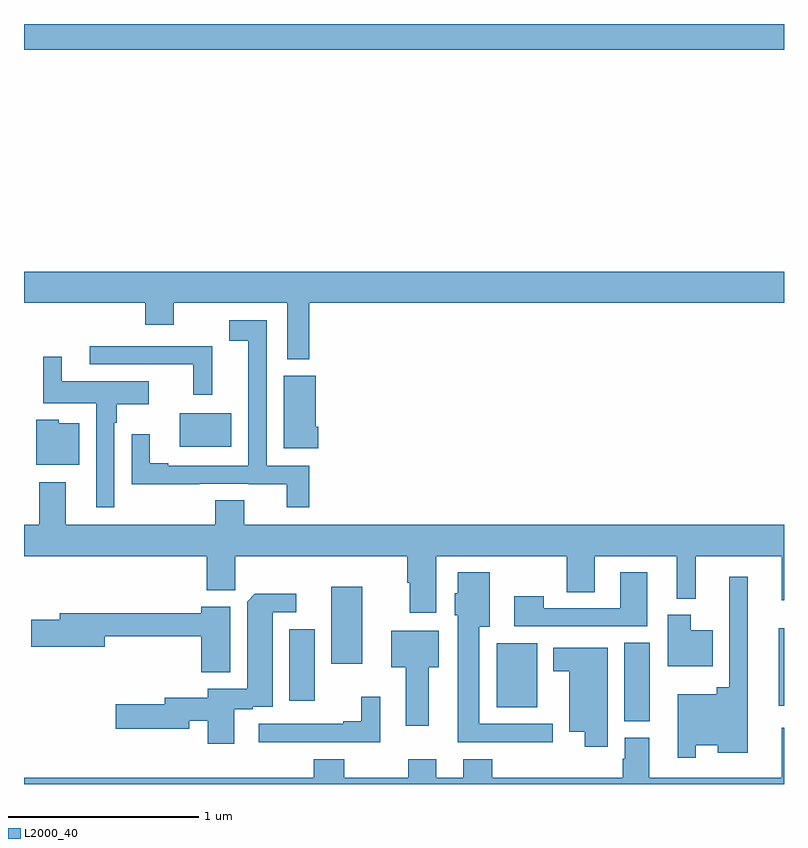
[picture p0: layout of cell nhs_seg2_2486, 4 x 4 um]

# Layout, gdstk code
import gdstk
lib = gdstk.Library(unit=1e-6, precision=1e-09)
def R(c, l, rs):  # rectangles x0, y0, x1, y1
    for r in rs: c.add(gdstk.rectangle(r[:2], r[2:], *l))
def P(c, l, *ps):  # polygons
    for p in ps: c.add(gdstk.Polygon(p, *l))
L2000_40 = (2000, 40)

nhs_seg2_2486 = lib.new_cell('nhs_seg2_2486')
R(nhs_seg2_2486, L2000_40, [(244.16,616.129,244.294,616.544), (243.488,616.205,243.7,616.54), (244.973,616.211,245,616.621), (242.396,616.239,242.53,616.615), (242.618,616.434,242.779,616.837), (241.82,617.576,242.092,617.752), (241,619.664,245,619.8)])
P(nhs_seg2_2486, L2000_40, [(242.501,618.332),(245,618.332),(245,618.496),(241,618.496),(241,618.332),(241.637,618.332),(241.637,618.218),(241.789,618.218),(241.789,618.332),(242.385,618.332),(242.385,618.035),(242.501,618.035)],
  [(242.501,617.475),(242.277,617.475),(242.277,618.24),(242.079,618.24),(242.079,618.132),(242.18,618.132),(242.18,617.848),(242.181,617.848),(242.181,617.475),(241.759,617.475),(241.759,617.488),(241.663,617.488),(241.663,617.641),(241.566,617.641),(241.566,617.378),(241.922,617.378),(241.922,617.379),(242.184,617.379),(242.184,617.378),(242.383,617.378),(242.383,617.256),(242.501,617.256)],
  [(241.991,618.105),(241.347,618.105),(241.347,618.009),(241.891,618.009),(241.891,617.85),(241.991,617.85)],
  [(241.476,617.702),(241.489,617.702),(241.489,617.798),(241.657,617.798),(241.657,617.92),(241.198,617.92),(241.198,618.049),(241.101,618.049),(241.101,617.804),(241.38,617.804),(241.38,617.256),(241.476,617.256)],
  [(242.549,617.68),(242.536,617.68),(242.536,617.95),(242.366,617.95),(242.366,617.568),(242.549,617.568)],
  [(241.291,617.698),(241.182,617.698),(241.182,617.716),(241.064,617.716),(241.064,617.48),(241.291,617.48)],
  [(243.169,617),(243.856,617),(243.856,616.81),(244.003,616.81),(244.003,617),(244.436,617),(244.436,616.775),(244.535,616.775),(244.535,617),(244.988,617),(244.988,616.767),(245,616.767),(245,617.164),(242.158,617.164),(242.158,617.294),(242.006,617.294),(242.006,617.164),(241.219,617.164),(241.219,617.389),(241.079,617.389),(241.079,617.164),(241,617.164),(241,617),(241.961,617),(241.961,616.819),(242.111,616.819),(242.111,617),(243.017,617),(243.017,616.859),(243.029,616.859),(243.029,616.701),(243.169,616.701)],
  [(243.784,616.116),(243.397,616.116),(243.397,616.628),(243.451,616.628),(243.451,616.915),(243.284,616.915),(243.284,616.803),(243.266,616.803),(243.266,616.689),(243.284,616.689),(243.284,616.019),(243.784,616.019)],
  [(244.279,616.915),(244.139,616.915),(244.139,616.725),(243.735,616.725),(243.735,616.789),(243.579,616.789),(243.579,616.629),(244.279,616.629)],
  [(244.536,616.004),(244.652,616.004),(244.652,615.965),(244.81,615.965),(244.81,616.891),(244.713,616.891),(244.713,616.309),(244.645,616.309),(244.645,616.273),(244.44,616.273),(244.44,615.939),(244.536,615.939)],
  [(242.107,616.194),(242.204,616.194),(242.204,616.206),(242.308,616.206),(242.308,616.704),(242.434,616.704),(242.434,616.802),(242.215,616.802),(242.174,616.76),(242.174,616.302),(241.967,616.302),(241.967,616.255),(241.742,616.255),(241.742,616.221),(241.482,616.221),(241.482,616.091),(241.87,616.091),(241.87,616.134),(241.967,616.134),(241.967,616.011),(242.107,616.011)],
  [(242.086,616.734),(241.934,616.734),(241.934,616.699),(241.187,616.699),(241.187,616.665),(241.038,616.665),(241.038,616.523),(241.426,616.523),(241.426,616.578),(241.934,616.578),(241.934,616.387),(242.086,616.387)],
  [(244.624,616.609),(244.51,616.609),(244.51,616.69),(244.388,616.69),(244.388,616.421),(244.624,616.421)],
  [(243.13,616.415),(243.184,616.415),(243.184,616.606),(242.933,616.606),(242.933,616.415),(243.008,616.415),(243.008,616.107),(243.13,616.107)],
  [(244.072,616.516),(243.785,616.516),(243.785,616.394),(243.869,616.394),(243.869,616.076),(243.95,616.076),(243.95,615.996),(244.072,615.996)],
  [(242.875,616.258),(242.776,616.258),(242.776,616.129),(242.681,616.129),(242.681,616.116),(242.235,616.116),(242.235,616.02),(242.875,616.02)],
  [(242.525,615.832),(241,615.832),(241,615.8),(245,615.8),(245,616.096),(244.988,616.096),(244.988,615.832),(244.291,615.832),(244.291,616.044),(244.163,616.044),(244.163,615.933),(244.151,615.933),(244.151,615.832),(243.464,615.832),(243.464,615.931),(243.311,615.931),(243.311,615.832),(243.169,615.832),(243.169,615.931),(243.022,615.931),(243.022,615.832),(242.685,615.832),(242.685,615.931),(242.525,615.931)])

lib.write_gds('nhs_seg2_2486.gds')
